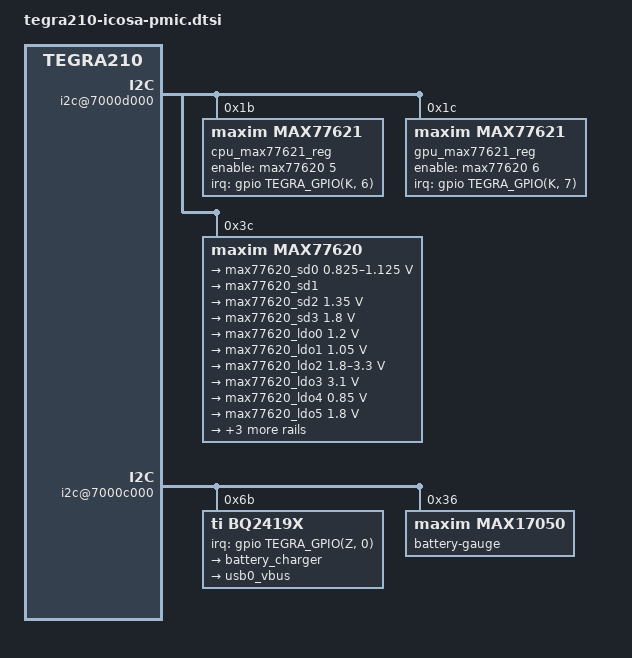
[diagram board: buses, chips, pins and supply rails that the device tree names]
/*
 * Copyright (c) 2014-2017, NVIDIA CORPORATION.  All rights reserved.
 *
 * This program is free software; you can redistribute it and/or modify
 * it under the terms of the GNU General Public License as published by
 * the Free Software Foundation; either version 2 of the License, or
 * (at your option) any later version.
 *
 * This program is distributed in the hope that it will be useful, but WITHOUT
 * ANY WARRANTY; without even the implied warranty of MERCHANTABILITY or
 * FITNESS FOR A PARTICULAR PURPOSE.  See the GNU General Public License for
 * more details.
 *
 * You should have received a copy of the GNU General Public License
 * along with this program.  If not, see <http://www.gnu.org/licenses/>.
 */

#include <dt-bindings/mfd/max77620.h>
#include <dt-bindings/regulator/regulator.h>
#include <dt-bindings/gpio/tegra-gpio.h>
#include <dt-bindings/thermal/thermal.h>
#include <dt-bindings/interrupt-controller/irq.h>
#include <dt-bindings/soc/tegra-pmc.h>

/ {
	i2c@7000d000 {
		nvidia,bit-bang-after-shutdown;

		cpu_max77621_reg: max77621@1b {
			compatible = "maxim,max77621";
			reg = <0x1b>;
			interrupt-parent = <&gpio>;
			interrupts = <TEGRA_GPIO(K, 6) IRQF_TRIGGER_FALLING>;
			regulator-name = "vdd-cpu";
			regulator-min-microvolt = <618750>;
			regulator-max-microvolt = <1400000>;
			regulator-max-microamp = <15000000>;
			regulator-n-voltages = <126>;
			regulator-ramp-delay = <12000>;
			regulator-enable-ramp-delay = <150>;
			regulator-disable-ramp-delay = <60000>;
			regulator-boot-on;
			regulator-always-on;
			#thermal-sensor-cells = <0>;
			maxim,enable-active-discharge;
			maxim,externally-enable;
			maxim,sleep-on-dvs;
			maxim,dvs-default-state = <1>;
			maxim,enable-gpio = <&max77620 5 0>;
			junction-warn-millicelsius = <120>;
		};

		gpu_max77621_reg: max77621@1c {
			compatible = "maxim,max77621";
			reg = <0x1c>;
			interrupt-parent = <&gpio>;
			interrupts = <TEGRA_GPIO(K, 7) IRQF_TRIGGER_FALLING>;
			regulator-name = "vdd-gpu";
			regulator-min-microvolt = <618750>;
			regulator-max-microvolt = <1150000>;
			regulator-max-microamp = <9000000>;
			regulator-init-microvolt = <1000000>;
			regulator-enable-ramp-delay = <200>;
			regulator-disable-ramp-delay = <60000>;
			regulator-boot-off;
			regulator-ramp-delay = <12000>;
			#thermal-sensor-cells = <0>;
			maxim,enable-active-discharge;
			maxim,enable-bias-control;
			maxim,dvs-default-state = <1>;
			maxim,enable-gpio = <&max77620 6 0>;
			junction-warn-millicelsius = <120>;
		};

		max77620: max77620@3c {
			compatible = "maxim,max77620";
			reg = <0x3c>;
			interrupts = <0 86 IRQ_TYPE_NONE>;
			nvidia,pmc-wakeup = <&tegra_pmc
				PMC_WAKE_TYPE_EVENT 51 PMC_TRIGGER_TYPE_LOW>;

			#interrupt-cells = <2>;
			interrupt-controller;

			gpio-controller;
			#gpio-cells = <2>;

			maxim,enable-clock32k-out;

			maxim,system-pmic-power-off;

			maxim,hard-power-off-time = <12>;

			maxim,avoid-rtc-bulk-register-write;

			maxim,hot-die-threshold-temp = <110000>;
			#thermal-sensor-cells = <0>;

			pinctrl-names = "default";
			pinctrl-0 = <&max77620_default>;

			max77620_default: pinmux@0 {
				pin_gpio0 {
					pins = "gpio0";
					function = "gpio";
				};

				pin_gpio1 {
					pins = "gpio1";
					function = "fps-out";
					drive-push-pull = <1>;
					maxim,active-fps-source = <MAX77620_FPS_SRC_0>;
					maxim,active-fps-power-up-slot = <7>;
					maxim,active-fps-power-down-slot = <0>;
				};

				pin_gpio2 {
					pins = "gpio2";
					function = "fps-out";
					drive-open-drain = <1>;
					maxim,active-fps-source = <MAX77620_FPS_SRC_0>;
				};

				pin_gpio3 {
					pins = "gpio3";
					function = "fps-out";
					drive-open-drain = <1>;
					maxim,active-fps-source = <MAX77620_FPS_SRC_0>;
					maxim,active-fps-power-up-slot = <4>;
					maxim,active-fps-power-down-slot = <2>;
				};

				pin_gpio4 {
					pins = "gpio4";
					function = "32k-out1";
				};

				pin_gpio5_6_7 {
					pins = "gpio5", "gpio6", "gpio7";
					function = "gpio";
					drive-push-pull = <1>;
				};
			};

			spmic-default-output-high {
				gpio-hog;
				output-high;
				gpios = <2 0>;
				label = "spmic-default-output-high";
			};

			watchdog {
				maxim,wdt-boot-timeout = <16>;
				maxim,wdt-clear-time = <13>;
				status = "disabled";
				dt-override-status-odm-data = <0x00020000 0x00020000>;
			};

			fps {
				#address-cells = <1>;
				#size-cells = <0>;
				fps0 {
					reg = <0>;
					maxim,shutdown-fps-time-period-us = <5120>;
					maxim,fps-event-source = <MAX77620_FPS_EVENT_SRC_EN0>;
				};

				fps1 {
					reg = <1>;
					maxim,shutdown-fps-time-period-us = <5120>;
					maxim,fps-event-source = <MAX77620_FPS_EVENT_SRC_EN1>;
					maxim,device-state-on-disabled-event = <MAX77620_FPS_INACTIVE_STATE_SLEEP>;
				};

				fps2 {
					reg = <2>;
					maxim,shutdown-fps-time-period-us = <5120>;
					maxim,fps-event-source = <MAX77620_FPS_EVENT_SRC_EN0>;
				};
			};

			regulators {
				in-ldo0-1-supply = <&max77620_sd2>;
				in-ldo7-8-supply = <&max77620_sd2>;

				max77620_sd0: sd0 {
					regulator-name = "vdd-core";
					regulator-min-microvolt = <825000>;
					regulator-max-microvolt = <1125000>;
					regulator-boot-on;
					regulator-always-on;
					maxim,active-fps-source = <MAX77620_FPS_SRC_1>;
					maxim,active-fps-power-up-slot = <1>;
					maxim,active-fps-power-down-slot = <7>;
					regulator-init-mode = <REGULATOR_MODE_NORMAL>;
					regulator-enable-ramp-delay = <146>;
					regulator-disable-ramp-delay = <4080>;
					maxim,ramp-rate-setting = <27500>;
					regulator-ramp-delay = <9100>;
				};

				max77620_sd1: sd1 {
					regulator-name = "vddio-ddr";
					regulator-always-on;
					regulator-boot-on;
					regulator-init-mode = <REGULATOR_MODE_NORMAL>; //1.125v
					maxim,active-fps-source = <MAX77620_FPS_SRC_0>;
					maxim,active-fps-power-up-slot = <5>;
					maxim,active-fps-power-down-slot = <1>;
					regulator-enable-ramp-delay = <130>;
					regulator-disable-ramp-delay = <145800>;
					maxim,ramp-rate-setting = <27500>;
					regulator-ramp-delay = <9100>;
				};

				max77620_sd2: sd2 {
					regulator-name = "vdd-pre-reg";
					regulator-min-microvolt = <1350000>;
					regulator-max-microvolt = <1350000>;
					maxim,active-fps-source = <MAX77620_FPS_SRC_1>;
					regulator-enable-ramp-delay = <176>;
					regulator-disable-ramp-delay = <32000>;
					maxim,ramp-rate-setting = <27500>;
					regulator-ramp-delay = <7900>;
				};

				max77620_sd3: sd3 {
					regulator-name = "vdd-1v8";
					regulator-min-microvolt = <1800000>;
					regulator-max-microvolt = <1800000>;
					regulator-always-on;
					regulator-boot-on;
					maxim,active-fps-source = <MAX77620_FPS_SRC_0>;
					maxim,active-fps-power-up-slot = <3>;
					maxim,active-fps-power-down-slot = <3>;
					regulator-init-mode = <REGULATOR_MODE_NORMAL>;
					regulator-enable-ramp-delay = <242>;
					regulator-disable-ramp-delay = <118000>;
					maxim,ramp-rate-setting = <27500>;
					regulator-ramp-delay = <7700>;
				};

				max77620_ldo0: ldo0 {
					regulator-name = "avdd-sys";
					regulator-min-microvolt = <1200000>;
					regulator-max-microvolt = <1200000>;
					regulator-always-on;
					regulator-boot-on;
					maxim,active-fps-source = <MAX77620_FPS_SRC_NONE>;
					regulator-enable-ramp-delay = <26>;
					regulator-disable-ramp-delay = <626>;
					maxim,ramp-rate-setting = <100000>;
					regulator-ramp-delay = <50000>;
				};

				max77620_ldo1: ldo1 {
					regulator-name = "vdd-pex";
					regulator-min-microvolt = <1050000>;
					regulator-max-microvolt = <1050000>;
					maxim,active-fps-source = <MAX77620_FPS_SRC_NONE>;
					regulator-enable-ramp-delay = <22>;
					regulator-disable-ramp-delay = <630>;
					maxim,ramp-rate-setting = <100000>;
					regulator-ramp-delay = <50000>;
				};

				max77620_ldo2: ldo2 {
					regulator-name = "vddio-sdmmc1";
					regulator-min-microvolt = <1800000>;
					regulator-max-microvolt = <3300000>;
					maxim,active-fps-source = <MAX77620_FPS_SRC_NONE>;
					regulator-enable-ramp-delay = <62>;
					regulator-disable-ramp-delay = <650>;
					maxim,ramp-rate-setting = <100000>;
					regulator-ramp-delay = <50000>;
				};

				max77620_ldo3: ldo3 {
					regulator-name = "vdd-gc-3v1"; // Gamecard?
					regulator-min-microvolt = <3100000>;
					regulator-max-microvolt = <3100000>;
					maxim,active-fps-source = <MAX77620_FPS_SRC_NONE>;
					regulator-enable-ramp-delay = <50>;
					regulator-disable-ramp-delay = <1110>;
					maxim,ramp-rate-setting = <100000>;
					regulator-ramp-delay = <50000>;
				};

				max77620_ldo4: ldo4 {
					regulator-name = "vdd-rtc";
					regulator-min-microvolt = <850000>;
					regulator-max-microvolt = <850000>;
					regulator-always-on;
					regulator-boot-on;
					maxim,active-fps-power-up-slot = <1>;
					maxim,active-fps-power-down-slot = <7>;
					maxim,active-fps-source = <MAX77620_FPS_SRC_0>;
					regulator-enable-ramp-delay = <22>;
					regulator-disable-ramp-delay = <610>;
					maxim,ramp-rate-setting = <100000>;
					regulator-ramp-delay = <50000>;
				};

				max77620_ldo5: ldo5 {
					regulator-name = "vdd-gc-1v8"; // Gamecard?
					regulator-min-microvolt = <1800000>;
					regulator-max-microvolt = <1800000>;
					maxim,active-fps-source = <MAX77620_FPS_SRC_NONE>;
					regulator-enable-ramp-delay = <62>;
					regulator-disable-ramp-delay = <640>;
					maxim,ramp-rate-setting = <100000>;
					regulator-ramp-delay = <50000>;
				};

				max77620_ldo6: ldo6 {
					regulator-name = "vdd-tp-3v1"; // touchscreen
					regulator-min-microvolt = <2900000>;
					regulator-max-microvolt = <2900000>;
					maxim,active-fps-source = <MAX77620_FPS_SRC_NONE>;
					regulator-enable-ramp-delay = <36>;
					regulator-disable-ramp-delay = <674>;
					maxim,ramp-rate-setting = <100000>;
					regulator-ramp-delay = <50000>;
				};

				max77620_ldo7: ldo7 {
					regulator-name = "vdd-gen-pll-edp";
					regulator-min-microvolt = <1050000>;
					regulator-max-microvolt = <1050000>;
					regulator-always-on;
					regulator-boot-on;
					maxim,active-fps-source = <MAX77620_FPS_SRC_1>;
					regulator-enable-ramp-delay = <24>;
					regulator-disable-ramp-delay = <2768>;
					maxim,ramp-rate-setting = <100000>;
					regulator-ramp-delay = <50000>;
				};

				max77620_ldo8: ldo8 {
					regulator-name = "vdd-hdmi-dp";
					regulator-min-microvolt = <1050000>;
					regulator-max-microvolt = <1050000>;
					maxim,active-fps-source = <MAX77620_FPS_SRC_NONE>;
					regulator-enable-ramp-delay = <22>;
					regulator-disable-ramp-delay = <1160>;
					maxim,ramp-rate-setting = <100000>;
					regulator-ramp-delay = <50000>;
				};
			};
		};
	};

	i2c@7000c000 {
		bq2419x: battery-charger@6b {
			compatible = "ti,bq2419x";
			reg = <0x6b>;

			interrupt-parent = <&gpio>;
			interrupts = <TEGRA_GPIO(Z, 0) 0x0>;
			#extcon-cells = <1>;

			#thermal-sensor-cells = <0>;

			battery_charger: charger {
				status = "okay";//not used?
				dt-override-status-odm-data = <0x00C00000 0x00400000>;
				regulator-name = "batt_regulator";
				regulator-max-microamp = <3000000>;
				ti,charge-voltage-limit-millivolt = <4208>;
				ti,charge-term-current-limit-milliamp = <128>;
				ti,ir-comp-voltage-millivolt = <1>;
				ti,ir-comp-resister-ohm = <1>;
				ti,pre-charge-current-limit-milliamp = <128>;
				ti,thermal-regulation-threshold-degc = <120>;
				ti,fast-charge-current-limit-milliamp = <2048>;
				ti,input-voltage-limit-millivolt = <3880>;
				ti,temp-range = <3 16 50 59>;
				ti,charge-current-limit = <512 768 2048 2048>;
				ti,charge-thermal-voltage-limit = <4208 4208 4208 3952>;
				ti,thermal-zone = "max170xx_battery";
				ti,temp-polling-time-sec = <20>;
				ti,pre-to-fast-charge-voltage-millivolt = <3000>;
				ti,enable-full-plug-detection;
			};

			usb0_vbus: vbus {
				regulator-name = "vbus_regulator";
			};
		};

		// Likely wrong, check HOS
		battery-gauge@36 {
			compatible = "maxim,max17050";
			reg = <0x36>;
			#thermal-sensor-cells = <0>;
			status = "okay";
			dt-override-status-odm-data = <0x00C00000 0x00400000>;
			maxim,volt-alrt-threshold = <0xff00>;
			maxim,temp-alrt-threshold = <0x7f80>;
			maxim,soc-alrt-threshold = <0xff00>;
			maxim,shutdown-timer = <0xe000>;
			maxim,rem-cap-soc-tte = <0x0000>;
			maxim,temp-gain = <0xe3e1>;
			maxim,temp-offset = <0x290e>;
			maxim,temp-nom = <0x1400>;
			maxim,temp-lim = <0x2305>;
			maxim,filter-config = <0x87a4>;
			maxim,relax-config = <0x203b>;
			maxim,config = <0x2210>;
			maxim,misc-config = <0x0870>;
			maxim,full-capacity = <0x244B>;
			maxim,full-capacity-nom = <0x244B>;
			maxim,dqacc = <0x007d>;
			maxim,dpacc = <0x0c80>;
			maxim,fctc = <0x05e0>;
			maxim,rsns-microohm = <10000>;
			/* custom parameters */
			maxim,current-gain = <0x7FFF>;
			maxim,design-capacity = <0x244B>;
			maxim,full-soc-thresh = <0x5f00>;
			maxim,lavg-empty = <0x1d09>;
			maxim,ichg-termi-current = <0x0666>;
			maxim,learn-config = <0x2603>;
			maxim,qresidual00 = <0x6310>;
			maxim,qresidual10 = <0x4284>;
			maxim,qresidual20 = <0x3200>;
			maxim,qresidual30 = <0x2702>;
			maxim,rcomp0 = <0x00ad>;
			maxim,tempco = <0x2c39>;
			maxim,voltage-empty = <0xa05f>;
			/* custom model */
			maxim,cell-char-tbl = <0x9610 0xa3c0 0xb220 0xb5a0 0xb920 0xbbd0 0xbc40 0xbc90
								0xbcc0 0xbd00 0xbea0 0xbf40 0xc140 0xc350 0xc8f0 0xce80
								0x0040 0x03b0 0x0900 0x0900 0x0700 0x3640 0x3350 0x49e0
								0x3770 0x0f90 0x11b0 0x0f30 0x0ec0 0x08f0 0x07d0 0x07d0
								0x0100 0x0100 0x0100 0x0100 0x0100 0x0100 0x0100 0x0100
								0x0100 0x0100 0x0100 0x0100 0x0100 0x0100 0x0100 0x0100>;
			maxim,is-battery-present;
			maxim,dead-volt = <3000>;
			maxim,over-volt = <4300>;
		};
	};

	dummy_cool_dev: dummy-cool-dev {
		compatible = "dummy-cooling-dev";
		#cooling-cells = <2>; /* min followed by max */
	};

	thermal-zones {
		PMIC-Die {
			polling-delay = <0>; /* milliseconds */
			polling-delay-passive = <0>; /* milliseconds */

			thermal-sensors = <&max77620>;
			trips {
				die_temp_thresh: hot-die {
					temperature = <120000>;
					type = "active";
					hysteresis = <0>;
				};
			};

			cooling-maps {
				map0 {
					trip = <&die_temp_thresh>;
					cooling-device = <&dummy_cool_dev THERMAL_NO_LIMIT
								THERMAL_NO_LIMIT>;
					contribution = <100>;
					cdev-type = "emergency-balanced";
				};
			};
		};

		Charger-Die {
			status = "okay";
			polling-delay = <0>; /* milliseconds */
			polling-delay-passive = <0>; /* milliseconds */

			thermal-sensors = <&bq2419x>;
			trips {
				die_temp_thresh_chg: hot-die {
					temperature = <120000>;
					type = "active";
					hysteresis = <0>;
				};
			};

			cooling-maps {
				map0 {
					trip = <&die_temp_thresh_chg>;
					cooling-device = <&dummy_cool_dev THERMAL_NO_LIMIT
								THERMAL_NO_LIMIT>;
					contribution = <100>;
					cdev-type = "emergency-balanced";
				};
			};
		};
	};

	extcon {
		compatible = "simple-bus";
		device_type = "external-connection";
		#address-cells = <1>;
		#size-cells = <0>;
	};

};
